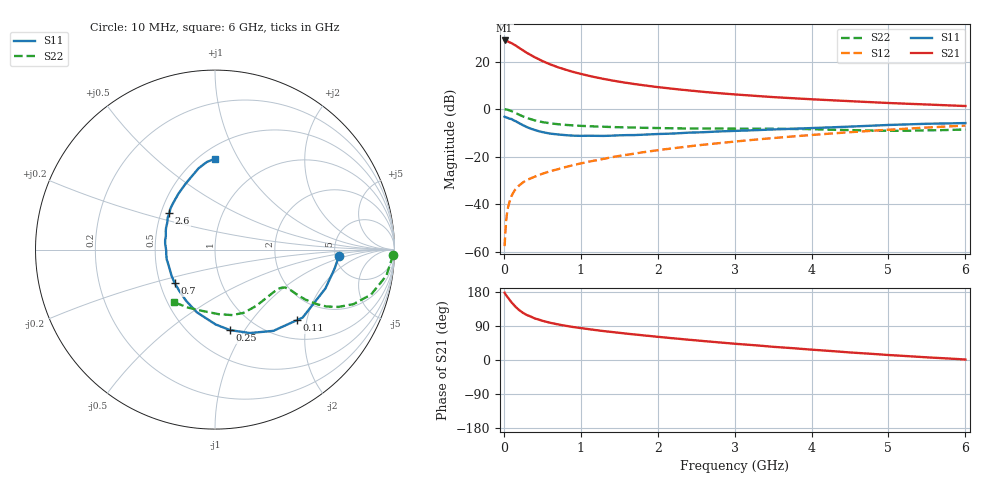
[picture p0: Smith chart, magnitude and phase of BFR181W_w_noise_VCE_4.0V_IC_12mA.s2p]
! Infineon Technologies  Discrete & RF Semiconductors
! BFR181W
! VCE =  4.0 V,  IC =  12 mA
! Common Emitter S-Parameters:  Jan 2017
# GHz  S  MA  R  50
!  f  S11  S21  S12  S22
! GHz  MAG  ANG  MAG  ANG  MAG  ANG  MAG  ANG
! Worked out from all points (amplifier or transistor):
!   77 points, 10 MHz to 6 GHz, reference 50 ohm
!   highest |S21| = 28.9 dB at 10 MHz (marker M1)
!   |S21| within 3 dB of that: start of sweep to 193.1 MHz
!   unconditionally stable (mu >= 1): 883 MHz to 2.807 GHz
!   at 130 MHz: K = 0.30, MSG = 31.0 dB, |S12| = -34.8 dB
!   at 2.2 GHz: K = 1.05, MAG = 11.2 dB, |S12| = -16.5 dB
!   at 6 GHz: K = 0.84, MSG = 4.1 dB, |S12| = -7.0 dB
!   lowest NFmin = 1.34 dB at 450 MHz
!   S11 on the Smith chart (normalised r, x): 10 MHz: 5.36, -0.77; 110 MHz: 1.41, -1.74; 250 MHz: 0.76, -0.86; 700 MHz: 0.60, -0.24; 2.6 GHz: 0.55, +0.25; 6 GHz: 0.59, +0.81
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0.01  0.691 -3.1  27.77 177.5  0.0013 87.2  0.9898 -1.6
0.02  0.6746 -9.1  27.33 173.8  0.0026 83.6  0.9852 -3.3
0.05  0.6521 -19.4  26.61 165.3  0.0079 82.4  0.9662 -8.6
0.1  0.618 -37.8  24.45 151.8  0.0148 76.7  0.9048 -16.1
0.11  0.6021 -40.8  23.88 149.8  0.0159 74.8  0.8891 -17.1
0.15  0.5575 -54.3  21.91 140.8  0.0204 69.3  0.8294 -21.5
0.2  0.5039 -67.3  19.32 131.6  0.0247 66.7  0.7585 -24.9
0.25  0.4564 -79.4  17.14 124.3  0.0287 63.8  0.6986 -27.0
0.3  0.4168 -89.6  15.2 118.6  0.0321 61.8  0.6481 -28.1
0.4  0.3635 -106.2  12.35 109.8  0.0376 62.3  0.5781 -28.9
0.5  0.3277 -119.4  10.25 103.5  0.0435 62.9  0.532 -28.8
0.6  0.3046 -130.6  8.758 98.4  0.049 64.2  0.5017 -28.5
0.7  0.2923 -140.2  7.618 94.1  0.054 65.3  0.4804 -28.2
0.9  0.2755 -155.8  6.049 87.1  0.0659 66.8  0.4529 -28.3
1.1  0.2744 -168.3  5.03 81.5  0.0778 68.1  0.4364 -29.0
1.5  0.2799 172.9  3.766 71.7  0.1032 69.0  0.4142 -32.2
2.1  0.3014 153.4  2.779 59.3  0.1427 68.1  0.3958 -40.7
2.6  0.3258 141.4  2.296 49.9  0.1777 66.3  0.3889 -49.6
3.1  0.3512 130.8  1.98 41.4  0.2142 63.5  0.386 -58.6
4.1  0.4032 113.6  1.577 25.9  0.2925 56.7  0.3732 -77.2
5.1  0.4675 100.1  1.321 12.0  0.3749 48.1  0.3486 -103.1
6  0.5067 89.9  1.158 1.3  0.4492 39.2  0.3719 -128.1
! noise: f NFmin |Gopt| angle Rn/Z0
0.45  1.34  0.1  16  0.21
0.9  1.38  0.1  32  0.21
1.9  1.82  0.07  -151  0.21
2.4  2.01  0.08  -113  0.26
